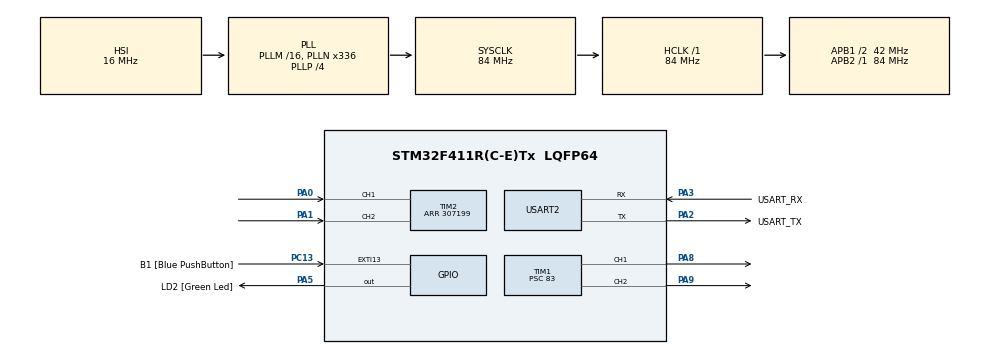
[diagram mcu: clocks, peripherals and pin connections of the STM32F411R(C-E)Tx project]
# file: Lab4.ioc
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ARM.CMSIS.5.6.0.CMSISJjCORE=true
ARM.CMSIS.5.6.0.CMSISJjDSP=Library
Mcu.Family=STM32F4
Mcu.Name=STM32F411R(C-E)Tx
Mcu.Package=LQFP64
NVIC.PriorityGroup=NVIC_PRIORITYGROUP_0
NVIC.TIM5_IRQn=true\:0\:0\:false\:false\:true\:true\:true\:true
PA0-WKUP.Signal=S_TIM2_CH1_ETR
PA1.Signal=S_TIM2_CH2
PA13.GPIO_Label=TMS
PA13.Mode=Serial_Wire
PA13.Signal=SYS_JTMS-SWDIO
PA14.GPIO_Label=TCK
PA14.Mode=Serial_Wire
PA14.Signal=SYS_JTCK-SWCLK
PA2.GPIO_Label=USART_TX
PA2.Mode=Asynchronous
PA2.Signal=USART2_TX
PA3.GPIO_Label=USART_RX
PA3.Mode=Asynchronous
PA3.Signal=USART2_RX
PA5.GPIO_Label=LD2 [Green Led]
PA5.Signal=GPIO_Output
PA8.Signal=S_TIM1_CH1
PA9.Signal=S_TIM1_CH2
PB3.GPIO_Label=SWO
PB3.Signal=SYS_JTDO-SWO
PC13-ANTI_TAMP.GPIO_Label=B1 [Blue PushButton]
PC13-ANTI_TAMP.GPIO_ModeDefaultEXTI=GPIO_MODE_IT_FALLING
PC13-ANTI_TAMP.Signal=GPXTI13
PC14-OSC32_IN.Mode=LSE-External-Oscillator
PC14-OSC32_IN.Signal=RCC_OSC32_IN
PC15-OSC32_OUT.Mode=LSE-External-Oscillator
PC15-OSC32_OUT.Signal=RCC_OSC32_OUT
PH0\ -\ OSC_IN.Mode=HSE-External-Clock-Source
PH0\ -\ OSC_IN.Signal=RCC_OSC_IN
PH1\ -\ OSC_OUT.Mode=HSE-External-Clock-Source
PH1\ -\ OSC_OUT.Signal=RCC_OSC_OUT
ProjectManager.HeapSize=0x200
ProjectManager.StackSize=0x400
ProjectManager.TargetToolchain=STM32CubeIDE
RCC.48MHZClocksFreq_Value=84000000
RCC.AHBFreq_Value=84000000
RCC.APB1CLKDivider=RCC_HCLK_DIV2
RCC.APB1Freq_Value=42000000
RCC.APB1TimFreq_Value=84000000
RCC.APB2Freq_Value=84000000
RCC.APB2TimFreq_Value=84000000
RCC.CortexFreq_Value=84000000
RCC.FLatency-AdvancedSettings=FLASH_LATENCY_2
RCC.HCLKFreq_Value=84000000
RCC.HSE_VALUE=8000000
RCC.HSI_VALUE=16000000
RCC.PLLN=336
RCC.PLLP=RCC_PLLP_DIV4
RCC.SYSCLKFreq_VALUE=84000000
RCC.SYSCLKSource=RCC_SYSCLKSOURCE_PLLCLK
RCC.VCOOutputFreq_Value=336000000
SH.S_TIM1_CH1.0=TIM1_CH1,PWM Generation1 CH1
SH.S_TIM1_CH2.0=TIM1_CH2,PWM Generation2 CH2
SH.S_TIM2_CH1_ETR.0=TIM2_CH1,Encoder_Interface
SH.S_TIM2_CH2.0=TIM2_CH2,Encoder_Interface
TIM1.Channel-PWM\ Generation1\ CH1=TIM_CHANNEL_1
TIM1.Channel-PWM\ Generation2\ CH2=TIM_CHANNEL_2
TIM1.Period=99
TIM1.Prescaler=83
TIM1.Pulse-PWM\ Generation1\ CH1=0
TIM1.Pulse-PWM\ Generation2\ CH2=0
TIM2.EncoderMode=TIM_ENCODERMODE_TI12
TIM2.Period=307199
TIM5.Prescaler=83
USART2.VirtualMode=VM_ASYNC
VP_ARM.CMSIS_VS_CMSISJjCORE_5.3.0_5.6.0.Mode=CMSISJjCORE
VP_ARM.CMSIS_VS_CMSISJjDSP_1.7.0_5.6.0.Mode=CMSISJjDSP
VP_TIM1_VS_ClockSourceINT.Mode=Internal
VP_TIM5_VS_ClockSourceINT.Mode=Internal
board=NUCLEO-F411RE

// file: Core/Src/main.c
/* USER CODE BEGIN Header */
/**
  ******************************************************************************
  * @file           : main.c
  * @brief          : Main program body
  ******************************************************************************
  * @attention
  *
  * Copyright (c) 2023 STMicroelectronics.
  * All rights reserved.
  *
  * This software is licensed under terms that can be found in the LICENSE file
  * in the root directory of this software component.
  * If no LICENSE file comes with this software, it is provided AS-IS.
  *
  ******************************************************************************
  */
/* USER CODE END Header */
#include "main.h"

/* USER CODE BEGIN Includes */
#include "math.h"
/* USER CODE END Includes */

TIM_HandleTypeDef htim1;
TIM_HandleTypeDef htim2;
TIM_HandleTypeDef htim5;

UART_HandleTypeDef huart2;

/* USER CODE BEGIN PV */

uint32_t QEIReadRaw;
int32_t setpoint = 0;
int32_t e_past;
int32_t e;
int8_t Direction = 1;
float degree = 0;
float Kp = 1;
float Ki = 0.31;
float Kd = 0;
float u = 0;
float PWM = 0;
/* USER CODE END PV */

void SystemClock_Config(void);
static void MX_GPIO_Init(void);
static void MX_USART2_UART_Init(void);
static void MX_TIM5_Init(void);
static void MX_TIM1_Init(void);
static void MX_TIM2_Init(void);

int main(void)
{

  /* MCU Configuration--------------------------------------------------------*/

  /* Reset of all peripherals, Initializes the Flash interface and the Systick. */
  HAL_Init();

  /* Configure the system clock */
  SystemClock_Config();

  /* Initialize all configured peripherals */
  MX_GPIO_Init();
  MX_USART2_UART_Init();
  MX_TIM5_Init();
  MX_TIM1_Init();
  MX_TIM2_Init();
  /* USER CODE BEGIN 2 */

HAL_TIM_Encoder_Start(&htim2, TIM_CHANNEL_1|TIM_CHANNEL_2);

HAL_TIM_Base_Start(&htim1);

HAL_TIM_PWM_Start(&htim1, TIM_CHANNEL_1);
HAL_TIM_PWM_Start(&htim1, TIM_CHANNEL_2);

  /* USER CODE END 2 */

  /* Infinite loop */
  while (1)
  {

    /* USER CODE BEGIN 3 */

	  static uint64_t timestamp = 0;

	  if (HAL_GetTick() > timestamp) // 100 Hz
	  {
		  timestamp = HAL_GetTick() + 10;
		  QEIReadRaw = __HAL_TIM_GET_COUNTER(&htim2);
		  degree = (QEIReadRaw * 36000) / 307200.0;
		  float Delta_T = 0.01;
		  e = setpoint - degree ;//error
		  float de_By_dt = (e - e_past) / Delta_T ;//dift
		  float e_integral = e_integral + (e * Delta_T);//intg
		  //pid calculate
		  u = (Kp * e) + (Ki * e_integral) + (Kd * de_By_dt) ;
		  PWM = fabs(u);
		  if (PWM > 100){PWM = 100;}
		  Direction = 1;
		  if (u < 0){Direction = -1;}
		  if (Direction == 1){
			  __HAL_TIM_SET_COMPARE(&htim1, TIM_CHANNEL_2, PWM);
			  __HAL_TIM_SET_COMPARE(&htim1, TIM_CHANNEL_1, 0);
		  }
		  else if (Direction == -1){
			  __HAL_TIM_SET_COMPARE(&htim1, TIM_CHANNEL_2, 0);
			  __HAL_TIM_SET_COMPARE(&htim1, TIM_CHANNEL_1, PWM);
		  }
	  }
	  e_past = e;
  }
  /* USER CODE END 3 */
}

void SystemClock_Config(void)
{
  RCC_OscInitTypeDef RCC_OscInitStruct = {0};
  RCC_ClkInitTypeDef RCC_ClkInitStruct = {0};

  /** Configure the main internal regulator output voltage
  */
  __HAL_RCC_PWR_CLK_ENABLE();
  __HAL_PWR_VOLTAGESCALING_CONFIG(PWR_REGULATOR_VOLTAGE_SCALE1);

  /** Initializes the RCC Oscillators according to the specified parameters
  * in the RCC_OscInitTypeDef structure.
  */
  RCC_OscInitStruct.OscillatorType = RCC_OSCILLATORTYPE_HSI;
  RCC_OscInitStruct.HSIState = RCC_HSI_ON;
  RCC_OscInitStruct.HSICalibrationValue = RCC_HSICALIBRATION_DEFAULT;
  RCC_OscInitStruct.PLL.PLLState = RCC_PLL_ON;
  RCC_OscInitStruct.PLL.PLLSource = RCC_PLLSOURCE_HSI;
  RCC_OscInitStruct.PLL.PLLM = 16;
  RCC_OscInitStruct.PLL.PLLN = 336;
  RCC_OscInitStruct.PLL.PLLP = RCC_PLLP_DIV4;
  RCC_OscInitStruct.PLL.PLLQ = 4;
  if (HAL_RCC_OscConfig(&RCC_OscInitStruct) != HAL_OK)
  {
    Error_Handler();
  }

  /** Initializes the CPU, AHB and APB buses clocks
  */
  RCC_ClkInitStruct.ClockType = RCC_CLOCKTYPE_HCLK|RCC_CLOCKTYPE_SYSCLK
                              |RCC_CLOCKTYPE_PCLK1|RCC_CLOCKTYPE_PCLK2;
  RCC_ClkInitStruct.SYSCLKSource = RCC_SYSCLKSOURCE_PLLCLK;
  RCC_ClkInitStruct.AHBCLKDivider = RCC_SYSCLK_DIV1;
  RCC_ClkInitStruct.APB1CLKDivider = RCC_HCLK_DIV2;
  RCC_ClkInitStruct.APB2CLKDivider = RCC_HCLK_DIV1;

  if (HAL_RCC_ClockConfig(&RCC_ClkInitStruct, FLASH_LATENCY_2) != HAL_OK)
  {
    Error_Handler();
  }
}

static void MX_TIM1_Init(void)
{

  TIM_ClockConfigTypeDef sClockSourceConfig = {0};
  TIM_MasterConfigTypeDef sMasterConfig = {0};
  TIM_OC_InitTypeDef sConfigOC = {0};
  TIM_BreakDeadTimeConfigTypeDef sBreakDeadTimeConfig = {0};

  htim1.Instance = TIM1;
  htim1.Init.Prescaler = 83;
  htim1.Init.CounterMode = TIM_COUNTERMODE_UP;
  htim1.Init.Period = 99;
  htim1.Init.ClockDivision = TIM_CLOCKDIVISION_DIV1;
  htim1.Init.RepetitionCounter = 0;
  htim1.Init.AutoReloadPreload = TIM_AUTORELOAD_PRELOAD_DISABLE;
  if (HAL_TIM_Base_Init(&htim1) != HAL_OK)
  {
    Error_Handler();
  }
  sClockSourceConfig.ClockSource = TIM_CLOCKSOURCE_INTERNAL;
  if (HAL_TIM_ConfigClockSource(&htim1, &sClockSourceConfig) != HAL_OK)
  {
    Error_Handler();
  }
  if (HAL_TIM_PWM_Init(&htim1) != HAL_OK)
  {
    Error_Handler();
  }
  sMasterConfig.MasterOutputTrigger = TIM_TRGO_RESET;
  sMasterConfig.MasterSlaveMode = TIM_MASTERSLAVEMODE_DISABLE;
  if (HAL_TIMEx_MasterConfigSynchronization(&htim1, &sMasterConfig) != HAL_OK)
  {
    Error_Handler();
  }
  sConfigOC.OCMode = TIM_OCMODE_PWM1;
  sConfigOC.Pulse = 0;
  sConfigOC.OCPolarity = TIM_OCPOLARITY_HIGH;
  sConfigOC.OCNPolarity = TIM_OCNPOLARITY_HIGH;
  sConfigOC.OCFastMode = TIM_OCFAST_DISABLE;
  sConfigOC.OCIdleState = TIM_OCIDLESTATE_RESET;
  sConfigOC.OCNIdleState = TIM_OCNIDLESTATE_RESET;
  if (HAL_TIM_PWM_ConfigChannel(&htim1, &sConfigOC, TIM_CHANNEL_1) != HAL_OK)
  {
    Error_Handler();
  }
  if (HAL_TIM_PWM_ConfigChannel(&htim1, &sConfigOC, TIM_CHANNEL_2) != HAL_OK)
  {
    Error_Handler();
  }
  sBreakDeadTimeConfig.OffStateRunMode = TIM_OSSR_DISABLE;
  sBreakDeadTimeConfig.OffStateIDLEMode = TIM_OSSI_DISABLE;
  sBreakDeadTimeConfig.LockLevel = TIM_LOCKLEVEL_OFF;
  sBreakDeadTimeConfig.DeadTime = 0;
  sBreakDeadTimeConfig.BreakState = TIM_BREAK_DISABLE;
  sBreakDeadTimeConfig.BreakPolarity = TIM_BREAKPOLARITY_HIGH;
  sBreakDeadTimeConfig.AutomaticOutput = TIM_AUTOMATICOUTPUT_DISABLE;
  if (HAL_TIMEx_ConfigBreakDeadTime(&htim1, &sBreakDeadTimeConfig) != HAL_OK)
  {
    Error_Handler();
  }
  HAL_TIM_MspPostInit(&htim1);

}

static void MX_TIM2_Init(void)
{

  TIM_Encoder_InitTypeDef sConfig = {0};
  TIM_MasterConfigTypeDef sMasterConfig = {0};

  htim2.Instance = TIM2;
  htim2.Init.Prescaler = 0;
  htim2.Init.CounterMode = TIM_COUNTERMODE_UP;
  htim2.Init.Period = 307199;
  htim2.Init.ClockDivision = TIM_CLOCKDIVISION_DIV1;
  htim2.Init.AutoReloadPreload = TIM_AUTORELOAD_PRELOAD_DISABLE;
  sConfig.EncoderMode = TIM_ENCODERMODE_TI12;
  sConfig.IC1Polarity = TIM_ICPOLARITY_RISING;
  sConfig.IC1Selection = TIM_ICSELECTION_DIRECTTI;
  sConfig.IC1Prescaler = TIM_ICPSC_DIV1;
  sConfig.IC1Filter = 0;
  sConfig.IC2Polarity = TIM_ICPOLARITY_RISING;
  sConfig.IC2Selection = TIM_ICSELECTION_DIRECTTI;
  sConfig.IC2Prescaler = TIM_ICPSC_DIV1;
  sConfig.IC2Filter = 0;
  if (HAL_TIM_Encoder_Init(&htim2, &sConfig) != HAL_OK)
  {
    Error_Handler();
  }
  sMasterConfig.MasterOutputTrigger = TIM_TRGO_RESET;
  sMasterConfig.MasterSlaveMode = TIM_MASTERSLAVEMODE_DISABLE;
  if (HAL_TIMEx_MasterConfigSynchronization(&htim2, &sMasterConfig) != HAL_OK)
  {
    Error_Handler();
  }

}

static void MX_TIM5_Init(void)
{

  TIM_ClockConfigTypeDef sClockSourceConfig = {0};
  TIM_MasterConfigTypeDef sMasterConfig = {0};

  htim5.Instance = TIM5;
  htim5.Init.Prescaler = 83;
  htim5.Init.CounterMode = TIM_COUNTERMODE_UP;
  htim5.Init.Period = 4294967295;
  htim5.Init.ClockDivision = TIM_CLOCKDIVISION_DIV1;
  htim5.Init.AutoReloadPreload = TIM_AUTORELOAD_PRELOAD_DISABLE;
  if (HAL_TIM_Base_Init(&htim5) != HAL_OK)
  {
    Error_Handler();
  }
  sClockSourceConfig.ClockSource = TIM_CLOCKSOURCE_INTERNAL;
  if (HAL_TIM_ConfigClockSource(&htim5, &sClockSourceConfig) != HAL_OK)
  {
    Error_Handler();
  }
  sMasterConfig.MasterOutputTrigger = TIM_TRGO_RESET;
  sMasterConfig.MasterSlaveMode = TIM_MASTERSLAVEMODE_DISABLE;
  if (HAL_TIMEx_MasterConfigSynchronization(&htim5, &sMasterConfig) != HAL_OK)
  {
    Error_Handler();
  }

}

static void MX_USART2_UART_Init(void)
{

  huart2.Instance = USART2;
  huart2.Init.BaudRate = 115200;
  huart2.Init.WordLength = UART_WORDLENGTH_8B;
  huart2.Init.StopBits = UART_STOPBITS_1;
  huart2.Init.Parity = UART_PARITY_NONE;
  huart2.Init.Mode = UART_MODE_TX_RX;
  huart2.Init.HwFlowCtl = UART_HWCONTROL_NONE;
  huart2.Init.OverSampling = UART_OVERSAMPLING_16;
  if (HAL_UART_Init(&huart2) != HAL_OK)
  {
    Error_Handler();
  }

}

static void MX_GPIO_Init(void)
{
  GPIO_InitTypeDef GPIO_InitStruct = {0};

  /* GPIO Ports Clock Enable */
  __HAL_RCC_GPIOC_CLK_ENABLE();
  __HAL_RCC_GPIOH_CLK_ENABLE();
  __HAL_RCC_GPIOA_CLK_ENABLE();
  __HAL_RCC_GPIOB_CLK_ENABLE();

  /*Configure GPIO pin Output Level */
  HAL_GPIO_WritePin(LD2_GPIO_Port, LD2_Pin, GPIO_PIN_RESET);

  /*Configure GPIO pin : B1_Pin */
  GPIO_InitStruct.Pin = B1_Pin;
  GPIO_InitStruct.Mode = GPIO_MODE_IT_FALLING;
  GPIO_InitStruct.Pull = GPIO_NOPULL;
  HAL_GPIO_Init(B1_GPIO_Port, &GPIO_InitStruct);

  /*Configure GPIO pin : LD2_Pin */
  GPIO_InitStruct.Pin = LD2_Pin;
  GPIO_InitStruct.Mode = GPIO_MODE_OUTPUT_PP;
  GPIO_InitStruct.Pull = GPIO_NOPULL;
  GPIO_InitStruct.Speed = GPIO_SPEED_FREQ_LOW;
  HAL_GPIO_Init(LD2_GPIO_Port, &GPIO_InitStruct);

}

void Error_Handler(void)
{
  __disable_irq();
  while (1)
  {
  }
}
